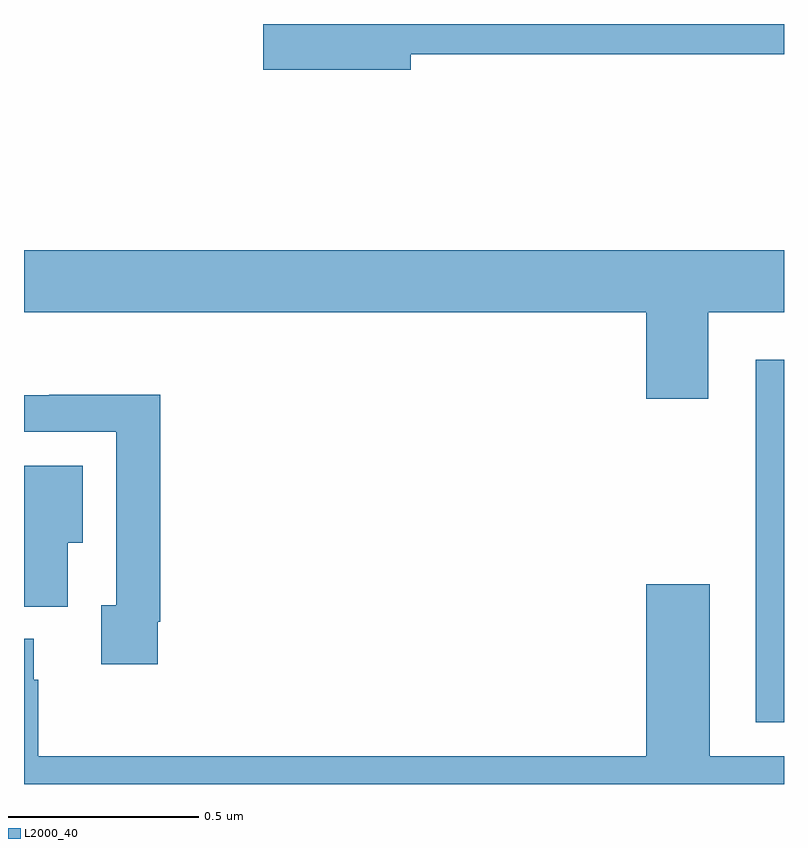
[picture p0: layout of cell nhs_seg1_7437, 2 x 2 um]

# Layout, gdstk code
import gdstk
lib = gdstk.Library(unit=1e-6, precision=1e-09)
def R(c, l, rs):  # rectangles x0, y0, x1, y1
    for r in rs: c.add(gdstk.rectangle(r[:2], r[2:], *l))
def P(c, l, *ps):  # polygons
    for p in ps: c.add(gdstk.Polygon(p, *l))
L2000_40 = (2000, 40)

nhs_seg1_7437 = lib.new_cell('nhs_seg1_7437')
R(nhs_seg1_7437, L2000_40, [(205.925,509.361,206,510.316)])
P(nhs_seg1_7437, L2000_40, [(205.018,511.12),(206,511.12),(206,511.199),(204.63,511.199),(204.63,511.078),(205.018,511.078)],
  [(205.801,510.44),(206,510.44),(206,510.604),(204,510.604),(204,510.44),(205.637,510.44),(205.637,510.213),(205.801,510.213)],
  [(204.352,509.626),(204.359,509.626),(204.359,510.224),(204.067,510.224),(204.067,510.222),(204,510.222),(204,510.126),(204.243,510.126),(204.243,509.67),(204.203,509.67),(204.203,509.514),(204.352,509.514)],
  [(204.115,509.834),(204.154,509.834),(204.154,510.037),(204,510.037),(204,509.666),(204.115,509.666)],
  [(206,509.272),(205.804,509.272),(205.804,509.725),(205.637,509.725),(205.637,509.272),(204.038,509.272),(204.038,509.474),(204.025,509.474),(204.025,509.581),(204,509.581),(204,509.199),(206,509.199)])

lib.write_gds('nhs_seg1_7437.gds')
